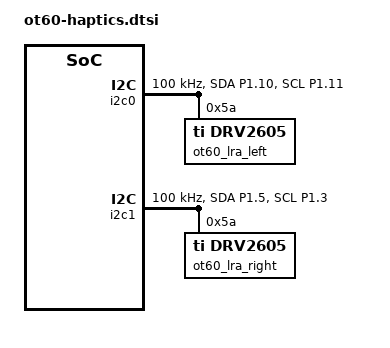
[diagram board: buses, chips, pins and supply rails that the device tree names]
/* SPDX-License-Identifier: MIT */

&pinctrl {
    ot60_i2c0_default: ot60_i2c0_default {
        group1 {
            psels = <NRF_PSEL(TWIM_SDA, 1, 10) NRF_PSEL(TWIM_SCL, 1, 11)>;
        };
    };

    ot60_i2c0_sleep: ot60_i2c0_sleep {
        group1 {
            psels = <NRF_PSEL(TWIM_SDA, 1, 10) NRF_PSEL(TWIM_SCL, 1, 11)>;
            low-power-enable;
        };
    };

    ot60_i2c1_default: ot60_i2c1_default {
        group1 {
            psels = <NRF_PSEL(TWIM_SDA, 1, 5) NRF_PSEL(TWIM_SCL, 1, 3)>;
        };
    };

    ot60_i2c1_sleep: ot60_i2c1_sleep {
        group1 {
            psels = <NRF_PSEL(TWIM_SDA, 1, 5) NRF_PSEL(TWIM_SCL, 1, 3)>;
            low-power-enable;
        };
    };
};

&i2c0 {
    compatible = "nordic,nrf-twim";
    status = "okay";
    clock-frequency = <100000>;
    pinctrl-0 = <&ot60_i2c0_default>;
    pinctrl-1 = <&ot60_i2c0_sleep>;
    pinctrl-names = "default", "sleep";

    ot60_lra_left: haptic@5a {
        compatible = "ti,drv2605";
        reg = <0x5a>;
        actuator-mode = "LRA";
        /* OnePlus 0916 Turbo closed-loop bench profile. */
        vib-frequency-hz = <125>;
        vib-rated-mv = <1000>;
        vib-overdrive-mv = <1800>;
        lra-blanking-time = <5>;
        lra-idiss-time = <5>;
        auto-cal-time = <3>;
    };

    /* INT1 = P1.12, INT2 = P1.13. Requires a LIS2DE12 driver for this Zephyr tree. */
    accelerometer@19 {
        compatible = "st,lis2de12";
        reg = <0x19>;
        status = "disabled";
    };
};

&i2c1 {
    compatible = "nordic,nrf-twim";
    status = "okay";
    clock-frequency = <100000>;
    pinctrl-0 = <&ot60_i2c1_default>;
    pinctrl-1 = <&ot60_i2c1_sleep>;
    pinctrl-names = "default", "sleep";

    ot60_lra_right: haptic@5a {
        compatible = "ti,drv2605";
        reg = <0x5a>;
        actuator-mode = "LRA";
        /* OnePlus 0916 Turbo closed-loop bench profile. */
        vib-frequency-hz = <125>;
        vib-rated-mv = <1000>;
        vib-overdrive-mv = <1800>;
        lra-blanking-time = <5>;
        lra-idiss-time = <5>;
        auto-cal-time = <3>;
    };
};
